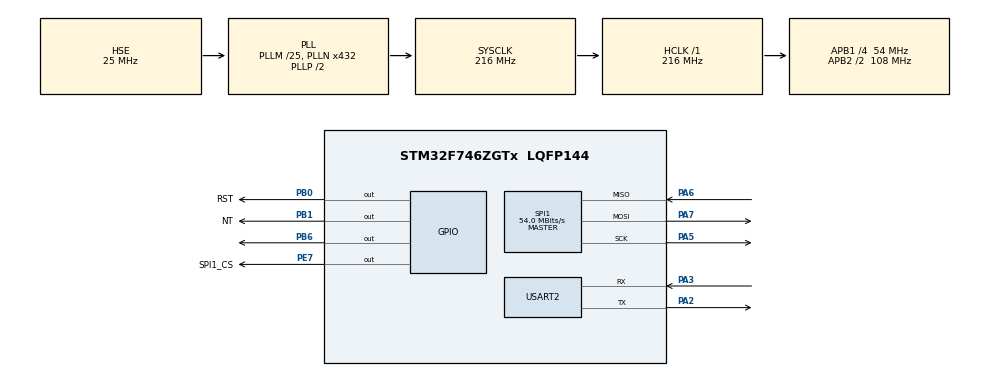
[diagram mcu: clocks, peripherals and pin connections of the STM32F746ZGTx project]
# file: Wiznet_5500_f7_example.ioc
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Mcu.Family=STM32F7
Mcu.Name=STM32F746ZGTx
Mcu.Package=LQFP144
NVIC.PriorityGroup=NVIC_PRIORITYGROUP_4
PA2.Mode=Asynchronous
PA2.Signal=USART2_TX
PA3.Mode=Asynchronous
PA3.Signal=USART2_RX
PA5.Mode=Full_Duplex_Master
PA5.Signal=SPI1_SCK
PA6.Mode=Full_Duplex_Master
PA6.Signal=SPI1_MISO
PA7.Mode=Full_Duplex_Master
PA7.Signal=SPI1_MOSI
PB0.GPIO_Label=RST
PB0.GPIO_Speed=GPIO_SPEED_FREQ_VERY_HIGH
PB0.Signal=GPIO_Output
PB1.GPIO_Label=NT
PB1.GPIO_Speed=GPIO_SPEED_FREQ_VERY_HIGH
PB1.PinState=GPIO_PIN_RESET
PB1.Signal=GPIO_Output
PB6.GPIO_Speed=GPIO_SPEED_FREQ_VERY_HIGH
PB6.Signal=GPIO_Output
PC14/OSC32_IN.Mode=LSE-External-Oscillator
PC14/OSC32_IN.Signal=RCC_OSC32_IN
PC15/OSC32_OUT.Mode=LSE-External-Oscillator
PC15/OSC32_OUT.Signal=RCC_OSC32_OUT
PE7.GPIO_Label=SPI1_CS
PE7.GPIO_Speed=GPIO_SPEED_FREQ_VERY_HIGH
PE7.PinState=GPIO_PIN_RESET
PE7.Signal=GPIO_Output
PH0/OSC_IN.Mode=HSE-External-Oscillator
PH0/OSC_IN.Signal=RCC_OSC_IN
PH1/OSC_OUT.Mode=HSE-External-Oscillator
PH1/OSC_OUT.Signal=RCC_OSC_OUT
ProjectManager.HeapSize=0x200
ProjectManager.StackSize=0x400
ProjectManager.TargetToolchain=STM32CubeIDE
RCC.AHBFreq_Value=216000000
RCC.APB1CLKDivider=RCC_HCLK_DIV4
RCC.APB1Freq_Value=54000000
RCC.APB1TimFreq_Value=108000000
RCC.APB2CLKDivider=RCC_HCLK_DIV2
RCC.APB2Freq_Value=108000000
RCC.APB2TimFreq_Value=216000000
RCC.CortexFreq_Value=216000000
RCC.HCLKFreq_Value=216000000
RCC.HSE_VALUE=25000000
RCC.HSI_VALUE=16000000
RCC.PLLM=25
RCC.PLLN=432
RCC.PLLSourceVirtual=RCC_PLLSOURCE_HSE
RCC.SYSCLKFreq_VALUE=216000000
RCC.SYSCLKSource=RCC_SYSCLKSOURCE_PLLCLK
RCC.USBFreq_Value=216000000
RCC.VCOOutputFreq_Value=432000000
SPI1.BaudRatePrescaler=SPI_BAUDRATEPRESCALER_2
SPI1.CLKPhase=SPI_PHASE_1EDGE
SPI1.CRCCalculation=SPI_CRCCALCULATION_DISABLE
SPI1.CalculateBaudRate=54.0 MBits/s
SPI1.DataSize=SPI_DATASIZE_8BIT
SPI1.Direction=SPI_DIRECTION_2LINES
SPI1.Mode=SPI_MODE_MASTER
SPI1.VirtualType=VM_MASTER
USART2.VirtualMode-Asynchronous=VM_ASYNC
board=custom

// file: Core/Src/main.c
/* USER CODE BEGIN Header */
/**
  ******************************************************************************
  * @file           : main.c
  * @brief          : Main program body
  ******************************************************************************
  * @attention
  *
  * Copyright (c) 2023 STMicroelectronics.
  * All rights reserved.
  *
  * This software is licensed under terms that can be found in the LICENSE file
  * in the root directory of this software component.
  * If no LICENSE file comes with this software, it is provided AS-IS.
  *
  ******************************************************************************
  */
/* USER CODE END Header */
#include "main.h"

/* USER CODE BEGIN Includes */
#include "socket.h"
//#include "loopback.h"

#include <stdio.h>
#include <stdlib.h>
#include <time.h>
/* USER CODE END Includes */

/* USER CODE BEGIN PTD */
#define HTTP_SOCKET 1
#define SOCK_TCPS 0
#define PORT_TCPS 5000

#define DATA_BUF_SIZE 2048
//#define DATA_BUF_SIZE 16384
uint8_t gDATABUF[DATA_BUF_SIZE];
/* USER CODE END PTD */

/* USER CODE BEGIN PD */

#define SEPARATOR            "=============================================\r\n"
#define WELCOME_MSG  		 "Welcome to STM32Nucleo Ethernet configuration\r\n"
#define NETWORK_MSG  		 "Network configuration:\r\n"
#define IP_MSG 		 		 "  IP ADDRESS:  %d.%d.%d.%d\r\n"
#define NETMASK_MSG	         "  NETMASK:     %d.%d.%d.%d\r\n"
#define GW_MSG 		 		 "  GATEWAY:     %d.%d.%d.%d\r\n"
#define MAC_MSG		 		 "  MAC ADDRESS: %x:%x:%x:%x:%x:%x\r\n"
#define GREETING_MSG 		 "Well done guys! Welcome to the IoT world. Bye!\r\n"
#define CONN_ESTABLISHED_MSG "Connection established with remote IP: %d.%d.%d.%d:%d\r\n"
#define SENT_MESSAGE_MSG	 "Sent a message. Let's close the socket!\r\n"
#define WRONG_RETVAL_MSG	 "Something went wrong; return value: %d\r\n"
#define WRONG_STATUS_MSG	 "Something went wrong; STATUS: %d\r\n"
#define LISTEN_ERR_MSG		 "LISTEN Error!\r\n"

char msg[DATA_BUF_SIZE];

/* USER CODE END PD */

SPI_HandleTypeDef hspi1;

UART_HandleTypeDef huart2;

/* USER CODE BEGIN PV */

wiz_NetInfo gWIZNETINFO = { .mac = {0x00, 0x08, 0xdc, 0xab, 0xcd, 0xef},
                            .ip = {192, 168, 0, 214},
                            .sn = {255, 255, 255, 0},
                            .gw = {192, 168, 0, 2},
                            .dns = {0, 0, 0, 0},
                            .dhcp = NETINFO_STATIC };

void W5500_Select(void) {
    HAL_GPIO_WritePin(SPI1_CS_GPIO_Port, SPI1_CS_Pin, GPIO_PIN_RESET);
}

void W5500_Unselect(void) {
    HAL_GPIO_WritePin(SPI1_CS_GPIO_Port, SPI1_CS_Pin, GPIO_PIN_SET);
}

void W5500_ReadBuff(uint8_t* buff, uint16_t len) {
    HAL_SPI_Receive(&hspi1, buff, len, HAL_MAX_DELAY);
}

void W5500_WriteBuff(uint8_t* buff, uint16_t len) {
    HAL_SPI_Transmit(&hspi1, buff, len, HAL_MAX_DELAY);
}

uint8_t W5500_ReadByte(void) {
    uint8_t byte;
    W5500_ReadBuff(&byte, sizeof(byte));
    return byte;
}

void W5500_WriteByte(uint8_t byte) {
    W5500_WriteBuff(&byte, sizeof(byte));
}

uint8_t stat;
uint8_t reqnr;
char Message[DATA_BUF_SIZE];

/* USER CODE END PV */

void SystemClock_Config(void);
static void MX_GPIO_Init(void);
static void MX_SPI1_Init(void);
static void MX_USART2_UART_Init(void);

/* USER CODE BEGIN 0 */
char* generateSymbols(int length) {
    char* symbols = malloc(sizeof(char) * (length + 1));  // allocate space for the string and null terminator
    int i;
    srand(time(NULL));
    for (i = 0; i < length; i++) {
        symbols[i] = rand() % 94 + 33;  // keeps the range of symbols between ASCII 33 ('!') and ASCII 126 ('~')
    }
    symbols[length] = '\0';  // add null terminator to the end of the string
    return symbols;
}
/* USER CODE END 0 */

int main(void)
{

  /* MCU Configuration--------------------------------------------------------*/

  /* Reset of all peripherals, Initializes the Flash interface and the Systick. */
  HAL_Init();

  /* Configure the system clock */
  SystemClock_Config();

  /* Initialize all configured peripherals */
  MX_GPIO_Init();
  MX_SPI1_Init();
  MX_USART2_UART_Init();
  /* USER CODE BEGIN 2 */

  HAL_GPIO_WritePin(RST_GPIO_Port, RST_Pin, GPIO_PIN_RESET);
  HAL_Delay(1);
  HAL_GPIO_WritePin(RST_GPIO_Port, RST_Pin, GPIO_PIN_SET);
  HAL_Delay(1000);

  reg_wizchip_cs_cbfunc(W5500_Select, W5500_Unselect);
  reg_wizchip_spi_cbfunc(W5500_ReadByte, W5500_WriteByte);
  reg_wizchip_spiburst_cbfunc(W5500_ReadBuff, W5500_WriteBuff);

  uint8_t rx_tx_buff_sizes[] = {2, 2, 2, 2, 2, 2, 2, 2};
  wizchip_init(rx_tx_buff_sizes, rx_tx_buff_sizes);

  wizchip_setnetinfo(&gWIZNETINFO);
  wizchip_getnetinfo(&gWIZNETINFO);

  ctlnetwork(CN_SET_NETINFO, (void*) &gWIZNETINFO);

  uint8_t retVal, sockStatus;
//  int16_t rcvLen;

  char* message = generateSymbols(1024);
  int len = strlen(message);
  while (1) {
  /* Open socket 0 as TCP_SOCKET with port 5001 */
    if((retVal = socket(0, Sn_MR_TCP, 5001, 0)) == 0) {
  	  /* Put socket in LISTEN mode. This means we are creating a TCP server */
  	  if((retVal = listen(0)) == SOCK_OK) {
  		  /* While socket is in LISTEN mode we wait for a remote connection */
  		  while(sockStatus = getSn_SR(0) == SOCK_LISTEN);
//  		  {
//  			  HAL_Delay(1);
//  		  }
  		  /* OK. Got a remote peer. Let's send a message to it */
  		  while(1) {
  			  /* If connection is ESTABLISHED with remote peer */
//  			  if(sockStatus = getSn_SR(0) == SOCK_ESTABLISHED) {
//  				  uint8_t remoteIP[4];
//  				  uint16_t remotePort;
////  				  /* Retrieving remote peer IP and port number */
//  				  getsockopt(0, SO_DESTIP, remoteIP);
//  				  getsockopt(0, SO_DESTPORT, (uint8_t*)&remotePort);
//  				  sprintf(msg, CONN_ESTABLISHED_MSG, remoteIP[0], remoteIP[1], remoteIP[2], remoteIP[3], remotePort);
//  				  /* Let's send a welcome message and closing socket */
//  				  /* Ops: something went wrong during data transfer */
//  				  if(retVal = send(0, GREETING_MSG, strlen(GREETING_MSG)) != (int16_t)strlen(GREETING_MSG)) {
//  					  sprintf(msg, WRONG_RETVAL_MSG, retVal);
//  				  }
//  				  break;
  				  for (int i = 0; i < 100; i++) {
  					send(0, message, len);
  				  }
  				  break;
//  			  }
//  			  else { /* Something went wrong with remote peer, maybe the connection was closed unexpectedly */
//  				  sprintf(msg, WRONG_STATUS_MSG, sockStatus);
//  				  break;
//  			  }
  		  }

  	  }
    }
//    else { /* Can't open the socket. This means something is wrong with W5100 configuration: maybe SPI issue? */
//  	  sprintf(msg, WRONG_RETVAL_MSG, retVal);
//    }

    /* We close the socket and start a connection again */
    disconnect(0);
    close(0);
    free(message);
  }

  /* USER CODE END 2 */

  /* Infinite loop */
  while (1)
  {

  }
}

void SystemClock_Config(void)
{
  RCC_OscInitTypeDef RCC_OscInitStruct = {0};
  RCC_ClkInitTypeDef RCC_ClkInitStruct = {0};

  /** Configure LSE Drive Capability
  */
  HAL_PWR_EnableBkUpAccess();

  /** Configure the main internal regulator output voltage
  */
  __HAL_RCC_PWR_CLK_ENABLE();
  __HAL_PWR_VOLTAGESCALING_CONFIG(PWR_REGULATOR_VOLTAGE_SCALE1);

  /** Initializes the RCC Oscillators according to the specified parameters
  * in the RCC_OscInitTypeDef structure.
  */
  RCC_OscInitStruct.OscillatorType = RCC_OSCILLATORTYPE_HSE;
  RCC_OscInitStruct.HSEState = RCC_HSE_ON;
  RCC_OscInitStruct.PLL.PLLState = RCC_PLL_ON;
  RCC_OscInitStruct.PLL.PLLSource = RCC_PLLSOURCE_HSE;
  RCC_OscInitStruct.PLL.PLLM = 25;
  RCC_OscInitStruct.PLL.PLLN = 432;
  RCC_OscInitStruct.PLL.PLLP = RCC_PLLP_DIV2;
  RCC_OscInitStruct.PLL.PLLQ = 2;
  if (HAL_RCC_OscConfig(&RCC_OscInitStruct) != HAL_OK)
  {
    Error_Handler();
  }

  /** Activate the Over-Drive mode
  */
  if (HAL_PWREx_EnableOverDrive() != HAL_OK)
  {
    Error_Handler();
  }

  /** Initializes the CPU, AHB and APB buses clocks
  */
  RCC_ClkInitStruct.ClockType = RCC_CLOCKTYPE_HCLK|RCC_CLOCKTYPE_SYSCLK
                              |RCC_CLOCKTYPE_PCLK1|RCC_CLOCKTYPE_PCLK2;
  RCC_ClkInitStruct.SYSCLKSource = RCC_SYSCLKSOURCE_PLLCLK;
  RCC_ClkInitStruct.AHBCLKDivider = RCC_SYSCLK_DIV1;
  RCC_ClkInitStruct.APB1CLKDivider = RCC_HCLK_DIV4;
  RCC_ClkInitStruct.APB2CLKDivider = RCC_HCLK_DIV2;

  if (HAL_RCC_ClockConfig(&RCC_ClkInitStruct, FLASH_LATENCY_7) != HAL_OK)
  {
    Error_Handler();
  }
}

static void MX_SPI1_Init(void)
{

  /* SPI1 parameter configuration*/
  hspi1.Instance = SPI1;
  hspi1.Init.Mode = SPI_MODE_MASTER;
  hspi1.Init.Direction = SPI_DIRECTION_2LINES;
  hspi1.Init.DataSize = SPI_DATASIZE_8BIT;
  hspi1.Init.CLKPolarity = SPI_POLARITY_LOW;
  hspi1.Init.CLKPhase = SPI_PHASE_1EDGE;
  hspi1.Init.NSS = SPI_NSS_SOFT;
  hspi1.Init.BaudRatePrescaler = SPI_BAUDRATEPRESCALER_2;
  hspi1.Init.FirstBit = SPI_FIRSTBIT_MSB;
  hspi1.Init.TIMode = SPI_TIMODE_DISABLE;
  hspi1.Init.CRCCalculation = SPI_CRCCALCULATION_DISABLE;
  hspi1.Init.CRCPolynomial = 7;
  hspi1.Init.CRCLength = SPI_CRC_LENGTH_DATASIZE;
  hspi1.Init.NSSPMode = SPI_NSS_PULSE_ENABLE;
  if (HAL_SPI_Init(&hspi1) != HAL_OK)
  {
    Error_Handler();
  }

}

static void MX_USART2_UART_Init(void)
{

  huart2.Instance = USART2;
  huart2.Init.BaudRate = 115200;
  huart2.Init.WordLength = UART_WORDLENGTH_8B;
  huart2.Init.StopBits = UART_STOPBITS_1;
  huart2.Init.Parity = UART_PARITY_NONE;
  huart2.Init.Mode = UART_MODE_TX_RX;
  huart2.Init.HwFlowCtl = UART_HWCONTROL_NONE;
  huart2.Init.OverSampling = UART_OVERSAMPLING_16;
  huart2.Init.OneBitSampling = UART_ONE_BIT_SAMPLE_DISABLE;
  huart2.AdvancedInit.AdvFeatureInit = UART_ADVFEATURE_NO_INIT;
  if (HAL_UART_Init(&huart2) != HAL_OK)
  {
    Error_Handler();
  }

}

static void MX_GPIO_Init(void)
{
  GPIO_InitTypeDef GPIO_InitStruct = {0};

  /* GPIO Ports Clock Enable */
  __HAL_RCC_GPIOC_CLK_ENABLE();
  __HAL_RCC_GPIOH_CLK_ENABLE();
  __HAL_RCC_GPIOA_CLK_ENABLE();
  __HAL_RCC_GPIOB_CLK_ENABLE();
  __HAL_RCC_GPIOE_CLK_ENABLE();

  /*Configure GPIO pin Output Level */
  HAL_GPIO_WritePin(GPIOB, RST_Pin|NT_Pin|GPIO_PIN_6, GPIO_PIN_RESET);

  /*Configure GPIO pin Output Level */
  HAL_GPIO_WritePin(SPI1_CS_GPIO_Port, SPI1_CS_Pin, GPIO_PIN_RESET);

  /*Configure GPIO pins : RST_Pin NT_Pin PB6 */
  GPIO_InitStruct.Pin = RST_Pin|NT_Pin|GPIO_PIN_6;
  GPIO_InitStruct.Mode = GPIO_MODE_OUTPUT_PP;
  GPIO_InitStruct.Pull = GPIO_NOPULL;
  GPIO_InitStruct.Speed = GPIO_SPEED_FREQ_VERY_HIGH;
  HAL_GPIO_Init(GPIOB, &GPIO_InitStruct);

  /*Configure GPIO pin : SPI1_CS_Pin */
  GPIO_InitStruct.Pin = SPI1_CS_Pin;
  GPIO_InitStruct.Mode = GPIO_MODE_OUTPUT_PP;
  GPIO_InitStruct.Pull = GPIO_NOPULL;
  GPIO_InitStruct.Speed = GPIO_SPEED_FREQ_VERY_HIGH;
  HAL_GPIO_Init(SPI1_CS_GPIO_Port, &GPIO_InitStruct);

}

void Error_Handler(void)
{
  __disable_irq();
  while (1)
  {
  }
}
